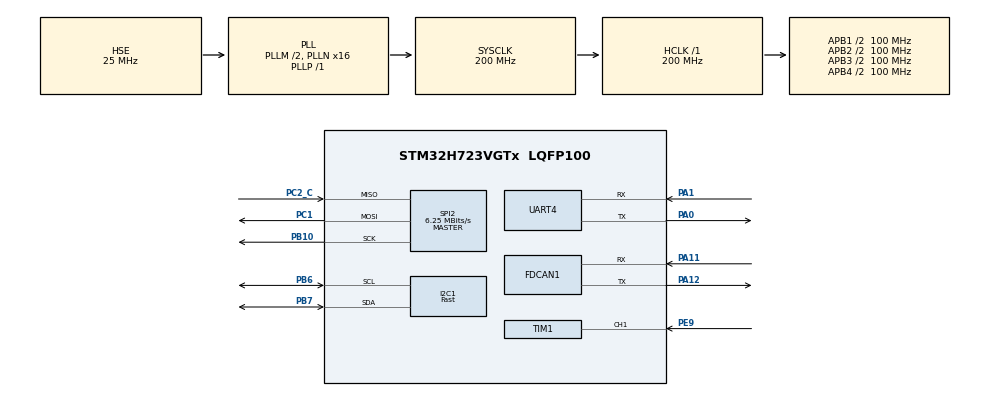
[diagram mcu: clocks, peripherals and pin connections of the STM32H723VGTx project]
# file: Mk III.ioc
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CORTEX_M7.default_mode_Activation=1
Dma.Request0=UART4_RX
Dma.Request1=UART4_TX
Dma.Request2=SPI2_TX
Dma.Request3=SPI2_RX
Dma.SPI2_RX.3.Direction=DMA_PERIPH_TO_MEMORY
Dma.SPI2_RX.3.EventEnable=DISABLE
Dma.SPI2_RX.3.FIFOMode=DMA_FIFOMODE_DISABLE
Dma.SPI2_RX.3.Instance=DMA1_Stream3
Dma.SPI2_RX.3.MemDataAlignment=DMA_MDATAALIGN_BYTE
Dma.SPI2_RX.3.MemInc=DMA_MINC_ENABLE
Dma.SPI2_RX.3.Mode=DMA_NORMAL
Dma.SPI2_RX.3.PeriphDataAlignment=DMA_PDATAALIGN_BYTE
Dma.SPI2_RX.3.PeriphInc=DMA_PINC_DISABLE
Dma.SPI2_RX.3.Polarity=HAL_DMAMUX_REQ_GEN_RISING
Dma.SPI2_RX.3.Priority=DMA_PRIORITY_LOW
Dma.SPI2_RX.3.RequestNumber=1
Dma.SPI2_RX.3.SignalID=NONE
Dma.SPI2_RX.3.SyncEnable=DISABLE
Dma.SPI2_RX.3.SyncPolarity=HAL_DMAMUX_SYNC_NO_EVENT
Dma.SPI2_RX.3.SyncRequestNumber=1
Dma.SPI2_RX.3.SyncSignalID=NONE
Dma.SPI2_TX.2.Direction=DMA_MEMORY_TO_PERIPH
Dma.SPI2_TX.2.EventEnable=DISABLE
Dma.SPI2_TX.2.FIFOMode=DMA_FIFOMODE_DISABLE
Dma.SPI2_TX.2.Instance=DMA1_Stream2
Dma.SPI2_TX.2.MemDataAlignment=DMA_MDATAALIGN_BYTE
Dma.SPI2_TX.2.MemInc=DMA_MINC_ENABLE
Dma.SPI2_TX.2.Mode=DMA_NORMAL
Dma.SPI2_TX.2.PeriphDataAlignment=DMA_PDATAALIGN_BYTE
Dma.SPI2_TX.2.PeriphInc=DMA_PINC_DISABLE
Dma.SPI2_TX.2.Polarity=HAL_DMAMUX_REQ_GEN_RISING
Dma.SPI2_TX.2.Priority=DMA_PRIORITY_LOW
Dma.SPI2_TX.2.RequestNumber=1
Dma.SPI2_TX.2.SignalID=NONE
Dma.SPI2_TX.2.SyncEnable=DISABLE
Dma.SPI2_TX.2.SyncPolarity=HAL_DMAMUX_SYNC_NO_EVENT
Dma.SPI2_TX.2.SyncRequestNumber=1
Dma.SPI2_TX.2.SyncSignalID=NONE
Dma.UART4_RX.0.Direction=DMA_PERIPH_TO_MEMORY
Dma.UART4_RX.0.EventEnable=DISABLE
Dma.UART4_RX.0.FIFOMode=DMA_FIFOMODE_DISABLE
Dma.UART4_RX.0.Instance=DMA1_Stream0
Dma.UART4_RX.0.MemDataAlignment=DMA_MDATAALIGN_BYTE
Dma.UART4_RX.0.MemInc=DMA_MINC_ENABLE
Dma.UART4_RX.0.Mode=DMA_CIRCULAR
Dma.UART4_RX.0.PeriphDataAlignment=DMA_PDATAALIGN_BYTE
Dma.UART4_RX.0.PeriphInc=DMA_PINC_DISABLE
Dma.UART4_RX.0.Polarity=HAL_DMAMUX_REQ_GEN_RISING
Dma.UART4_RX.0.Priority=DMA_PRIORITY_LOW
Dma.UART4_RX.0.RequestNumber=1
Dma.UART4_RX.0.SignalID=NONE
Dma.UART4_RX.0.SyncEnable=DISABLE
Dma.UART4_RX.0.SyncPolarity=HAL_DMAMUX_SYNC_NO_EVENT
Dma.UART4_RX.0.SyncRequestNumber=1
Dma.UART4_RX.0.SyncSignalID=NONE
Dma.UART4_TX.1.Direction=DMA_MEMORY_TO_PERIPH
Dma.UART4_TX.1.EventEnable=DISABLE
Dma.UART4_TX.1.FIFOMode=DMA_FIFOMODE_DISABLE
Dma.UART4_TX.1.Instance=DMA1_Stream1
Dma.UART4_TX.1.MemDataAlignment=DMA_MDATAALIGN_BYTE
Dma.UART4_TX.1.MemInc=DMA_MINC_ENABLE
Dma.UART4_TX.1.Mode=DMA_NORMAL
Dma.UART4_TX.1.PeriphDataAlignment=DMA_PDATAALIGN_BYTE
Dma.UART4_TX.1.PeriphInc=DMA_PINC_DISABLE
Dma.UART4_TX.1.Polarity=HAL_DMAMUX_REQ_GEN_RISING
Dma.UART4_TX.1.Priority=DMA_PRIORITY_LOW
Dma.UART4_TX.1.RequestNumber=1
Dma.UART4_TX.1.SignalID=NONE
Dma.UART4_TX.1.SyncEnable=DISABLE
Dma.UART4_TX.1.SyncPolarity=HAL_DMAMUX_SYNC_NO_EVENT
Dma.UART4_TX.1.SyncRequestNumber=1
Dma.UART4_TX.1.SyncSignalID=NONE
FDCAN1.AutoRetransmission=ENABLE
FDCAN1.CalculateBaudRateNominal=1000000
FDCAN1.CalculateTimeBitNominal=1000
FDCAN1.CalculateTimeQuantumNominal=10.0
FDCAN1.ClockCalibrationCCU=DISABLE
FDCAN1.DataSyncJumpWidth=11
FDCAN1.DataTimeSeg1=22
FDCAN1.DataTimeSeg2=11
FDCAN1.FrameFormat=FDCAN_FRAME_FD_NO_BRS
FDCAN1.NominalPrescaler=1
FDCAN1.NominalSyncJumpWidth=34
FDCAN1.NominalTimeSeg1=66
FDCAN1.NominalTimeSeg2=33
FREERTOS.Queues01=MotorTargetQueue,1,20,1,Dynamic,NULL,NULL;ActuatorQueue,1,2,1,Dynamic,NULL,NULL
FREERTOS.Tasks01=IdleTask,24,128,StartIdleTask,Default,NULL,Dynamic,NULL,NULL;MotorControlTask,32,128,StartMotorControlTask,Default,NULL,Dynamic,NULL,NULL;SensorTask,24,128,StartSensorTask,Default,NULL,Dynamic,NULL,NULL;ActuatorTask,24,128,StartActuatorTask,Default,NULL,Dynamic,NULL,NULL;ESPCommTask,24,128,StartESPCommTask,Default,NULL,Dynamic,NULL,NULL
FREERTOS.configLIBRARY_MAX_SYSCALL_INTERRUPT_PRIORITY=5
FREERTOS.configMAX_TASK_NAME_LEN=25
FREERTOS.configUSE_NEWLIB_REENTRANT=1
I2C1.I2C_Speed_Mode=I2C_Fast
I2C1.Timing=0x009034B6
Mcu.Family=STM32H7
Mcu.Name=STM32H723VGTx
Mcu.Package=LQFP100
NVIC.DMA1_Stream0_IRQn=true\:7\:0\:true\:false\:true\:true\:false\:true\:true
NVIC.DMA1_Stream1_IRQn=true\:7\:0\:true\:false\:true\:true\:false\:true\:true
NVIC.DMA1_Stream2_IRQn=true\:7\:0\:true\:false\:true\:true\:false\:true\:true
NVIC.DMA1_Stream3_IRQn=true\:7\:0\:true\:false\:true\:true\:false\:true\:true
NVIC.FDCAN1_IT0_IRQn=true\:5\:0\:false\:false\:true\:true\:true\:true\:true
NVIC.FDCAN1_IT1_IRQn=true\:5\:0\:false\:false\:true\:true\:true\:true\:true
NVIC.I2C1_ER_IRQn=true\:8\:0\:true\:false\:true\:true\:true\:true\:true
NVIC.I2C1_EV_IRQn=true\:8\:0\:true\:false\:true\:true\:true\:true\:true
NVIC.PriorityGroup=NVIC_PRIORITYGROUP_4
NVIC.SPI2_IRQn=true\:5\:0\:false\:false\:true\:true\:true\:true\:true
NVIC.TIM1_CC_IRQn=true\:5\:0\:true\:false\:true\:true\:true\:true\:true
NVIC.TIM6_DAC_IRQn=true\:15\:0\:false\:false\:true\:false\:false\:true\:true
NVIC.TimeBase=TIM6_DAC_IRQn
NVIC.TimeBaseIP=TIM6
NVIC.UART4_IRQn=true\:6\:0\:true\:false\:true\:true\:true\:true\:true
PA0.Mode=Asynchronous
PA0.Signal=UART4_TX
PA1.Mode=Asynchronous
PA1.Signal=UART4_RX
PA11.Mode=FDCAN_Activate
PA11.Signal=FDCAN1_RX
PA12.Mode=FDCAN_Activate
PA12.Signal=FDCAN1_TX
PA13(JTMS/SWDIO).Mode=Serial_Wire
PA13(JTMS/SWDIO).Signal=DEBUG_JTMS-SWDIO
PA14(JTCK/SWCLK).Mode=Serial_Wire
PA14(JTCK/SWCLK).Signal=DEBUG_JTCK-SWCLK
PB10.Mode=Full_Duplex_Master
PB10.Signal=SPI2_SCK
PB6.Mode=I2C
PB6.Signal=I2C1_SCL
PB7.Mode=I2C
PB7.Signal=I2C1_SDA
PC1.Mode=Full_Duplex_Master
PC1.Signal=SPI2_MOSI
PC2_C.Mode=Full_Duplex_Master
PC2_C.Signal=SPI2_MISO
PE9.Signal=S_TIM1_CH1
PH0-OSC_IN.Mode=HSE-External-Oscillator
PH0-OSC_IN.Signal=RCC_OSC_IN
PH1-OSC_OUT.Mode=HSE-External-Oscillator
PH1-OSC_OUT.Signal=RCC_OSC_OUT
ProjectManager.HeapSize=0x200
ProjectManager.StackSize=0x400
ProjectManager.TargetToolchain=STM32CubeIDE
RCC.ADCFreq_Value=50390625
RCC.APB1Freq_Value=100000000
RCC.APB2Freq_Value=100000000
RCC.APB3Freq_Value=100000000
RCC.APB4Freq_Value=100000000
RCC.CortexFreq_Value=200000000
RCC.D1PPRE=RCC_APB3_DIV2
RCC.D2PPRE1=RCC_APB1_DIV2
RCC.D2PPRE2=RCC_APB2_DIV2
RCC.D3PPRE=RCC_APB4_DIV2
RCC.DIVM1=2
RCC.DIVN1=16
RCC.DIVP1=1
RCC.EnbaleCSS=true
RCC.HCLKFreq_Value=200000000
RCC.PLL2FRACN=0
RCC.PLL3FRACN=0
RCC.PLLFRACN=0
RCC.PLLSourceVirtual=RCC_PLLSOURCE_HSE
RCC.SYSCLKFreq_VALUE=200000000
RCC.SYSCLKSource=RCC_SYSCLKSOURCE_PLLCLK
RCC.USBFreq_Value=100000000
SH.S_TIM1_CH1.0=TIM1_CH1,Input_Capture1_from_TI1
SPI2.BaudRatePrescaler=SPI_BAUDRATEPRESCALER_16
SPI2.CLKPhase=SPI_PHASE_2EDGE
SPI2.CLKPolarity=SPI_POLARITY_HIGH
SPI2.CalculateBaudRate=6.25 MBits/s
SPI2.Direction=SPI_DIRECTION_2LINES
SPI2.Mode=SPI_MODE_MASTER
SPI2.VirtualType=VM_MASTER
TIM1.Channel-Input_Capture1_from_TI1=TIM_CHANNEL_1
TIM1.Prescaler=279
VP_FREERTOS_VS_CMSIS_V2.Mode=CMSIS_V2
VP_MEMORYMAP_VS_MEMORYMAP.Mode=CurAppReg
VP_SYS_VS_tim6.Mode=TIM6
VP_TIM1_VS_ClockSourceINT.Mode=Internal
board=custom

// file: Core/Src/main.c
/* USER CODE BEGIN Header */
/**
  ******************************************************************************
  * @file           : main.c
  * @brief          : Main program body
  ******************************************************************************
  * @attention
  *
  * Copyright (c) 2026 STMicroelectronics.
  * All rights reserved.
  *
  * This software is licensed under terms that can be found in the LICENSE file
  * in the root directory of this software component.
  * If no LICENSE file comes with this software, it is provided AS-IS.
  *
  ******************************************************************************
  */
/* USER CODE END Header */
#include "main.h"
#include "FreeRTOS.h"
#include "cmsis_os2.h"

/* USER CODE BEGIN Includes */
#include <string.h>
#include "task.h"
#include "moteus.h"
#include "multi_motor.h"
#include "MotorTarget.h"
#include "PID.h"
#include "MotorInfo.h"
#include "ActuatorCommand.h"
#include "SolenoidTrigger.h"
#include "RobotTelemetry.h"
/* USER CODE END Includes */

FDCAN_HandleTypeDef hfdcan1;

I2C_HandleTypeDef hi2c1;

SPI_HandleTypeDef hspi2;
DMA_HandleTypeDef hdma_spi2_tx;
DMA_HandleTypeDef hdma_spi2_rx;

TIM_HandleTypeDef htim1;

UART_HandleTypeDef huart4;
DMA_HandleTypeDef hdma_uart4_rx;
DMA_HandleTypeDef hdma_uart4_tx;

/* Definitions for IdleTask */
osThreadId_t IdleTaskHandle;
const osThreadAttr_t IdleTask_attributes = {
  .name = "IdleTask",
  .stack_size = 128 * 4,
  .priority = (osPriority_t) osPriorityNormal,
};
/* Definitions for MotorControlTask */
osThreadId_t MotorControlTaskHandle;
const osThreadAttr_t MotorControlTask_attributes = {
  .name = "MotorControlTask",
  .stack_size = 128 * 4,
  .priority = (osPriority_t) osPriorityAboveNormal,
};
/* Definitions for SensorTask */
osThreadId_t SensorTaskHandle;
const osThreadAttr_t SensorTask_attributes = {
  .name = "SensorTask",
  .stack_size = 128 * 4,
  .priority = (osPriority_t) osPriorityNormal,
};
/* Definitions for ActuatorTask */
osThreadId_t ActuatorTaskHandle;
const osThreadAttr_t ActuatorTask_attributes = {
  .name = "ActuatorTask",
  .stack_size = 128 * 4,
  .priority = (osPriority_t) osPriorityNormal,
};
/* Definitions for ESPCommTask */
osThreadId_t ESPCommTaskHandle;
const osThreadAttr_t ESPCommTask_attributes = {
  .name = "ESPCommTask",
  .stack_size = 128 * 4,
  .priority = (osPriority_t) osPriorityNormal,
};
/* Definitions for MotorTargetQueue */
osMessageQueueId_t MotorTargetQueueHandle;
const osMessageQueueAttr_t MotorTargetQueue_attributes = {
  .name = "MotorTargetQueue"
};
/* Definitions for ActuatorQueue */
osMessageQueueId_t ActuatorQueueHandle;
const osMessageQueueAttr_t ActuatorQueue_attributes = {
  .name = "ActuatorQueue"
};

void SystemClock_Config(void);
static void MPU_Config(void);
static void MX_GPIO_Init(void);
static void MX_DMA_Init(void);
static void MX_FDCAN1_Init(void);
static void MX_UART4_Init(void);
static void MX_I2C1_Init(void);
static void MX_SPI2_Init(void);
static void MX_TIM1_Init(void);
void StartIdleTask(void *argument);
void StartMotorControlTask(void *argument);
void StartSensorTask(void *argument);
void StartActuatorTask(void *argument);
void StartESPCommTask(void *argument);

/* USER CODE BEGIN 0 */
// time in ms since last esp packet receive
volatile uint32_t last_esp_packet_tick;
// UART receive buffer
uint8_t rxBuffer[RX_BUFFER_SIZE];
// updated with breakbeam ball detection
volatile bool global_ball_detected = false;
/* USER CODE END 0 */

int main(void)
{

  /* MPU Configuration--------------------------------------------------------*/
  MPU_Config();

  /* MCU Configuration--------------------------------------------------------*/

  /* Reset of all peripherals, Initializes the Flash interface and the Systick. */
  HAL_Init();

  /* Configure the system clock */
  SystemClock_Config();

  /* Initialize all configured peripherals */
  MX_GPIO_Init();
  MX_DMA_Init();
  MX_FDCAN1_Init();
  MX_UART4_Init();
  MX_I2C1_Init();
  MX_SPI2_Init();
  MX_TIM1_Init();

  /* Init scheduler */
  osKernelInitialize();

  /* Create the queue(s) */
  /* creation of MotorTargetQueue */
  MotorTargetQueueHandle = osMessageQueueNew (1, 20, &MotorTargetQueue_attributes);

  /* creation of ActuatorQueue */
  ActuatorQueueHandle = osMessageQueueNew (1, 2, &ActuatorQueue_attributes);

  /* Create the thread(s) */
  /* creation of IdleTask */
  IdleTaskHandle = osThreadNew(StartIdleTask, NULL, &IdleTask_attributes);

  /* creation of MotorControlTask */
  MotorControlTaskHandle = osThreadNew(StartMotorControlTask, NULL, &MotorControlTask_attributes);

  /* creation of SensorTask */
  SensorTaskHandle = osThreadNew(StartSensorTask, NULL, &SensorTask_attributes);

  /* creation of ActuatorTask */
  ActuatorTaskHandle = osThreadNew(StartActuatorTask, NULL, &ActuatorTask_attributes);

  /* creation of ESPCommTask */
  ESPCommTaskHandle = osThreadNew(StartESPCommTask, NULL, &ESPCommTask_attributes);

  /* Start scheduler */
  osKernelStart();

  /* We should never get here as control is now taken by the scheduler */

  /* Infinite loop */
  while (1)
  {

  }
}

void SystemClock_Config(void)
{
  RCC_OscInitTypeDef RCC_OscInitStruct = {0};
  RCC_ClkInitTypeDef RCC_ClkInitStruct = {0};

  /** Supply configuration update enable
  */
  HAL_PWREx_ConfigSupply(PWR_LDO_SUPPLY);

  /** Configure the main internal regulator output voltage
  */
  __HAL_PWR_VOLTAGESCALING_CONFIG(PWR_REGULATOR_VOLTAGE_SCALE1);

  while(!__HAL_PWR_GET_FLAG(PWR_FLAG_VOSRDY)) {}

  /** Initializes the RCC Oscillators according to the specified parameters
  * in the RCC_OscInitTypeDef structure.
  */
  RCC_OscInitStruct.OscillatorType = RCC_OSCILLATORTYPE_HSE;
  RCC_OscInitStruct.HSEState = RCC_HSE_ON;
  RCC_OscInitStruct.PLL.PLLState = RCC_PLL_ON;
  RCC_OscInitStruct.PLL.PLLSource = RCC_PLLSOURCE_HSE;
  RCC_OscInitStruct.PLL.PLLM = 2;
  RCC_OscInitStruct.PLL.PLLN = 16;
  RCC_OscInitStruct.PLL.PLLP = 1;
  RCC_OscInitStruct.PLL.PLLQ = 2;
  RCC_OscInitStruct.PLL.PLLR = 2;
  RCC_OscInitStruct.PLL.PLLRGE = RCC_PLL1VCIRANGE_3;
  RCC_OscInitStruct.PLL.PLLVCOSEL = RCC_PLL1VCOWIDE;
  RCC_OscInitStruct.PLL.PLLFRACN = 0;
  if (HAL_RCC_OscConfig(&RCC_OscInitStruct) != HAL_OK)
  {
    Error_Handler();
  }

  /** Initializes the CPU, AHB and APB buses clocks
  */
  RCC_ClkInitStruct.ClockType = RCC_CLOCKTYPE_HCLK|RCC_CLOCKTYPE_SYSCLK
                              |RCC_CLOCKTYPE_PCLK1|RCC_CLOCKTYPE_PCLK2
                              |RCC_CLOCKTYPE_D3PCLK1|RCC_CLOCKTYPE_D1PCLK1;
  RCC_ClkInitStruct.SYSCLKSource = RCC_SYSCLKSOURCE_PLLCLK;
  RCC_ClkInitStruct.SYSCLKDivider = RCC_SYSCLK_DIV1;
  RCC_ClkInitStruct.AHBCLKDivider = RCC_HCLK_DIV1;
  RCC_ClkInitStruct.APB3CLKDivider = RCC_APB3_DIV2;
  RCC_ClkInitStruct.APB1CLKDivider = RCC_APB1_DIV2;
  RCC_ClkInitStruct.APB2CLKDivider = RCC_APB2_DIV2;
  RCC_ClkInitStruct.APB4CLKDivider = RCC_APB4_DIV2;

  if (HAL_RCC_ClockConfig(&RCC_ClkInitStruct, FLASH_LATENCY_2) != HAL_OK)
  {
    Error_Handler();
  }

  /** Enables the Clock Security System
  */
  HAL_RCC_EnableCSS();
}

static void MX_FDCAN1_Init(void)
{

  hfdcan1.Instance = FDCAN1;
  hfdcan1.Init.FrameFormat = FDCAN_FRAME_FD_NO_BRS;
  hfdcan1.Init.Mode = FDCAN_MODE_NORMAL;
  hfdcan1.Init.AutoRetransmission = ENABLE;
  hfdcan1.Init.TransmitPause = DISABLE;
  hfdcan1.Init.ProtocolException = DISABLE;
  hfdcan1.Init.NominalPrescaler = 1;
  hfdcan1.Init.NominalSyncJumpWidth = 34;
  hfdcan1.Init.NominalTimeSeg1 = 66;
  hfdcan1.Init.NominalTimeSeg2 = 33;
  hfdcan1.Init.DataPrescaler = 1;
  hfdcan1.Init.DataSyncJumpWidth = 11;
  hfdcan1.Init.DataTimeSeg1 = 22;
  hfdcan1.Init.DataTimeSeg2 = 11;
  hfdcan1.Init.MessageRAMOffset = 0;
  hfdcan1.Init.StdFiltersNbr = 0;
  hfdcan1.Init.ExtFiltersNbr = 0;
  hfdcan1.Init.RxFifo0ElmtsNbr = 0;
  hfdcan1.Init.RxFifo0ElmtSize = FDCAN_DATA_BYTES_8;
  hfdcan1.Init.RxFifo1ElmtsNbr = 0;
  hfdcan1.Init.RxFifo1ElmtSize = FDCAN_DATA_BYTES_8;
  hfdcan1.Init.RxBuffersNbr = 0;
  hfdcan1.Init.RxBufferSize = FDCAN_DATA_BYTES_8;
  hfdcan1.Init.TxEventsNbr = 0;
  hfdcan1.Init.TxBuffersNbr = 0;
  hfdcan1.Init.TxFifoQueueElmtsNbr = 0;
  hfdcan1.Init.TxFifoQueueMode = FDCAN_TX_FIFO_OPERATION;
  hfdcan1.Init.TxElmtSize = FDCAN_DATA_BYTES_8;
  if (HAL_FDCAN_Init(&hfdcan1) != HAL_OK)
  {
    Error_Handler();
  }

}

static void MX_I2C1_Init(void)
{

  hi2c1.Instance = I2C1;
  hi2c1.Init.Timing = 0x009034B6;
  hi2c1.Init.OwnAddress1 = 0;
  hi2c1.Init.AddressingMode = I2C_ADDRESSINGMODE_7BIT;
  hi2c1.Init.DualAddressMode = I2C_DUALADDRESS_DISABLE;
  hi2c1.Init.OwnAddress2 = 0;
  hi2c1.Init.OwnAddress2Masks = I2C_OA2_NOMASK;
  hi2c1.Init.GeneralCallMode = I2C_GENERALCALL_DISABLE;
  hi2c1.Init.NoStretchMode = I2C_NOSTRETCH_DISABLE;
  if (HAL_I2C_Init(&hi2c1) != HAL_OK)
  {
    Error_Handler();
  }

  /** Configure Analogue filter
  */
  if (HAL_I2CEx_ConfigAnalogFilter(&hi2c1, I2C_ANALOGFILTER_ENABLE) != HAL_OK)
  {
    Error_Handler();
  }

  /** Configure Digital filter
  */
  if (HAL_I2CEx_ConfigDigitalFilter(&hi2c1, 0) != HAL_OK)
  {
    Error_Handler();
  }

}

static void MX_SPI2_Init(void)
{

  /* SPI2 parameter configuration*/
  hspi2.Instance = SPI2;
  hspi2.Init.Mode = SPI_MODE_MASTER;
  hspi2.Init.Direction = SPI_DIRECTION_2LINES;
  hspi2.Init.DataSize = SPI_DATASIZE_4BIT;
  hspi2.Init.CLKPolarity = SPI_POLARITY_HIGH;
  hspi2.Init.CLKPhase = SPI_PHASE_2EDGE;
  hspi2.Init.NSS = SPI_NSS_SOFT;
  hspi2.Init.BaudRatePrescaler = SPI_BAUDRATEPRESCALER_16;
  hspi2.Init.FirstBit = SPI_FIRSTBIT_MSB;
  hspi2.Init.TIMode = SPI_TIMODE_DISABLE;
  hspi2.Init.CRCCalculation = SPI_CRCCALCULATION_DISABLE;
  hspi2.Init.CRCPolynomial = 0x0;
  hspi2.Init.NSSPMode = SPI_NSS_PULSE_ENABLE;
  hspi2.Init.NSSPolarity = SPI_NSS_POLARITY_LOW;
  hspi2.Init.FifoThreshold = SPI_FIFO_THRESHOLD_01DATA;
  hspi2.Init.TxCRCInitializationPattern = SPI_CRC_INITIALIZATION_ALL_ZERO_PATTERN;
  hspi2.Init.RxCRCInitializationPattern = SPI_CRC_INITIALIZATION_ALL_ZERO_PATTERN;
  hspi2.Init.MasterSSIdleness = SPI_MASTER_SS_IDLENESS_00CYCLE;
  hspi2.Init.MasterInterDataIdleness = SPI_MASTER_INTERDATA_IDLENESS_00CYCLE;
  hspi2.Init.MasterReceiverAutoSusp = SPI_MASTER_RX_AUTOSUSP_DISABLE;
  hspi2.Init.MasterKeepIOState = SPI_MASTER_KEEP_IO_STATE_DISABLE;
  hspi2.Init.IOSwap = SPI_IO_SWAP_DISABLE;
  if (HAL_SPI_Init(&hspi2) != HAL_OK)
  {
    Error_Handler();
  }

}

static void MX_TIM1_Init(void)
{

  TIM_ClockConfigTypeDef sClockSourceConfig = {0};
  TIM_MasterConfigTypeDef sMasterConfig = {0};
  TIM_IC_InitTypeDef sConfigIC = {0};

  htim1.Instance = TIM1;
  htim1.Init.Prescaler = 279;
  htim1.Init.CounterMode = TIM_COUNTERMODE_UP;
  htim1.Init.Period = 65535;
  htim1.Init.ClockDivision = TIM_CLOCKDIVISION_DIV1;
  htim1.Init.RepetitionCounter = 0;
  htim1.Init.AutoReloadPreload = TIM_AUTORELOAD_PRELOAD_DISABLE;
  if (HAL_TIM_Base_Init(&htim1) != HAL_OK)
  {
    Error_Handler();
  }
  sClockSourceConfig.ClockSource = TIM_CLOCKSOURCE_INTERNAL;
  if (HAL_TIM_ConfigClockSource(&htim1, &sClockSourceConfig) != HAL_OK)
  {
    Error_Handler();
  }
  if (HAL_TIM_IC_Init(&htim1) != HAL_OK)
  {
    Error_Handler();
  }
  sMasterConfig.MasterOutputTrigger = TIM_TRGO_RESET;
  sMasterConfig.MasterOutputTrigger2 = TIM_TRGO2_RESET;
  sMasterConfig.MasterSlaveMode = TIM_MASTERSLAVEMODE_DISABLE;
  if (HAL_TIMEx_MasterConfigSynchronization(&htim1, &sMasterConfig) != HAL_OK)
  {
    Error_Handler();
  }
  sConfigIC.ICPolarity = TIM_INPUTCHANNELPOLARITY_RISING;
  sConfigIC.ICSelection = TIM_ICSELECTION_DIRECTTI;
  sConfigIC.ICPrescaler = TIM_ICPSC_DIV1;
  sConfigIC.ICFilter = 0;
  if (HAL_TIM_IC_ConfigChannel(&htim1, &sConfigIC, TIM_CHANNEL_1) != HAL_OK)
  {
    Error_Handler();
  }

}

static void MX_UART4_Init(void)
{

  huart4.Instance = UART4;
  huart4.Init.BaudRate = 115200;
  huart4.Init.WordLength = UART_WORDLENGTH_8B;
  huart4.Init.StopBits = UART_STOPBITS_1;
  huart4.Init.Parity = UART_PARITY_NONE;
  huart4.Init.Mode = UART_MODE_TX_RX;
  huart4.Init.HwFlowCtl = UART_HWCONTROL_NONE;
  huart4.Init.OverSampling = UART_OVERSAMPLING_16;
  huart4.Init.OneBitSampling = UART_ONE_BIT_SAMPLE_DISABLE;
  huart4.Init.ClockPrescaler = UART_PRESCALER_DIV1;
  huart4.AdvancedInit.AdvFeatureInit = UART_ADVFEATURE_NO_INIT;
  if (HAL_UART_Init(&huart4) != HAL_OK)
  {
    Error_Handler();
  }
  if (HAL_UARTEx_SetTxFifoThreshold(&huart4, UART_TXFIFO_THRESHOLD_1_8) != HAL_OK)
  {
    Error_Handler();
  }
  if (HAL_UARTEx_SetRxFifoThreshold(&huart4, UART_RXFIFO_THRESHOLD_1_8) != HAL_OK)
  {
    Error_Handler();
  }
  if (HAL_UARTEx_DisableFifoMode(&huart4) != HAL_OK)
  {
    Error_Handler();
  }

}

static void MX_DMA_Init(void)
{

  /* DMA controller clock enable */
  __HAL_RCC_DMA1_CLK_ENABLE();

  /* DMA interrupt init */
  /* DMA1_Stream0_IRQn interrupt configuration */
  HAL_NVIC_SetPriority(DMA1_Stream0_IRQn, 7, 0);
  HAL_NVIC_EnableIRQ(DMA1_Stream0_IRQn);
  /* DMA1_Stream1_IRQn interrupt configuration */
  HAL_NVIC_SetPriority(DMA1_Stream1_IRQn, 7, 0);
  HAL_NVIC_EnableIRQ(DMA1_Stream1_IRQn);
  /* DMA1_Stream2_IRQn interrupt configuration */
  HAL_NVIC_SetPriority(DMA1_Stream2_IRQn, 7, 0);
  HAL_NVIC_EnableIRQ(DMA1_Stream2_IRQn);
  /* DMA1_Stream3_IRQn interrupt configuration */
  HAL_NVIC_SetPriority(DMA1_Stream3_IRQn, 7, 0);
  HAL_NVIC_EnableIRQ(DMA1_Stream3_IRQn);

}

static void MX_GPIO_Init(void)
{

  /* GPIO Ports Clock Enable */
  __HAL_RCC_GPIOH_CLK_ENABLE();
  __HAL_RCC_GPIOC_CLK_ENABLE();
  __HAL_RCC_GPIOA_CLK_ENABLE();
  __HAL_RCC_GPIOE_CLK_ENABLE();
  __HAL_RCC_GPIOB_CLK_ENABLE();

}

/* USER CODE BEGIN 4 */
void HAL_FDCAN_RxFifo0Callback(FDCAN_HandleTypeDef *hfdcan, uint32_t RxFifo0ITs)
{
    (void)RxFifo0ITs;
    moteus_fdcan_rx_callback(hfdcan);
}
void HAL_UARTEx_RxEventCallback(UART_HandleTypeDef *huart, uint16_t Size)
{
  if (huart->Instance == UART4)
  {
    // High-priority signal to wake up the ESPCommTask
    BaseType_t xHigherPriorityTaskWoken = pdFALSE;
    vTaskNotifyGiveFromISR(ESPCommTaskHandle, &xHigherPriorityTaskWoken);
    portYIELD_FROM_ISR(xHigherPriorityTaskWoken);
  }
}
/* USER CODE END 4 */

void StartIdleTask(void *argument)
{
  /* USER CODE BEGIN StartIdleTask */
  uint32_t led_tick = HAL_GetTick();

  /* Infinite loop */
  for(;;)
  {
    // 1. Heartbeat LED: Toggle every 500ms (1Hz blink)
    // Provides visual confirmation that the FreeRTOS scheduler is running.
    if ((HAL_GetTick() - led_tick) >= HEARTBEAT_LED_BLINK_DELAY)
    {
      // Replace with your actual LED Pin labels from CubeMX
      HAL_GPIO_TogglePin(HEARTBEAT_LED_GPIO_PORT, HEARTBEAT_LED_PIN);
      led_tick = HAL_GetTick();
    }

    // 2. ESP32 Communication Safety Watchdog
    // If no UART packets have been received in 1 second, stop all motors.
    // Assumption: last_esp_packet_tick is updated in StartESPCommTask.
    if ((HAL_GetTick() - last_esp_packet_tick) > SAFETY_WATCHDOG_TIME)
    {
      // TODO: check if this multi_motor.c `motors` is the same in main.c
      // Calls the helper from multi_motor.c source to stop all Moteus nodes
      stop_all();
    }

    // 3. System Yield (Critical for SensorTask)
    // By delaying for 50ms, this task enters a "Blocked" state, allowing
    // the osPriorityBelowNormal SensorTask to use the CPU.
    osDelay(IDLE_TASK_DELAY);
  }
  /* USER CODE END StartIdleTask */
}

void StartMotorControlTask(void *argument)
{
  /* USER CODE BEGIN StartMotorControlTask */
  MotorTarget_t targets = {0};
  moteus_motor_t* motors[NUM_MOTORS];

  // Initialize 5 motor instances (IDs 1-5)
  for (int i = 0; i < NUM_MOTORS; i++) {
    motors[i] = moteus_get_motor_by_id(i + 1);
  }

  moteus_position_cmd_t cmd = MOTEUS_POSITION_CMD_DEFAULT;
  cmd.position = MOTEUS_NAN; // Enable Velocity Mode
  cmd.max_torque = 2.0f;     // Safety limit

  for(;;)
  {
    // Retrieve newest targets; if empty, continue with last known
    osMessageQueueGet(MotorTargetQueueHandle, &targets, NULL, 0);

    for (int i = 0; i < NUM_MOTORS; i++) {
      if (motors[i] != NULL) {
        cmd.velocity = targets.velocities[i];
        moteus_begin_position(motors[i], &cmd);
      }
    }

    osDelay(1); // 1kHz loop for stability
  }
  /* USER CODE END StartMotorControlTask */
}

void StartSensorTask(void *argument)
{
  /* USER CODE BEGIN StartSensorTask */

  /* Infinite loop */
  for(;;)
  {
    // 1. Read the GPIO pin for the breakbeam
    // Assumption: Pin is HIGH when beam is broken (ball present)
    // Replace BALL_SENSOR_GPIO_Port and BALL_SENSOR_Pin with your CubeMX labels
    if (HAL_GPIO_ReadPin(BALL_SENSOR_GPIO_PORT, BALL_SENSOR_PIN) == GPIO_PIN_SET)
    {
    	global_ball_detected = true;
    }
    else
    {
    	global_ball_detected = false;
    }

    // 2. Polling rate: 20Hz (50ms) is usually sufficient for ball detection
    osDelay(BALL_DETECTION_DELAY);
  }
  /* USER CODE END StartSensorTask */
}

void StartActuatorTask(void *argument)
{
  /* USER CODE BEGIN StartActuatorTask */
  SolenoidTrigger_t triggers;

  for(;;)
  {
    // Block indefinitely until the ESPCommTask sends a trigger
    if (osMessageQueueGet(ActuatorQueueHandle, &triggers, NULL, osWaitForever) == osOK)
    {
      if (triggers.kick) {
        HAL_GPIO_WritePin(KICKER_GPIO_PORT, KICK_PIN, GPIO_PIN_SET);
        osDelay(KICKER_DELAY); // 100ms pulse duration
        HAL_GPIO_WritePin(KICKER_GPIO_PORT, KICK_PIN, GPIO_PIN_RESET);
      }

      if (triggers.chip) {
        HAL_GPIO_WritePin(CHIPPER_GPIO_PORT, CHIP_PIN, GPIO_PIN_SET);
        osDelay(CHIPPER_DELAY);
        HAL_GPIO_WritePin(CHIPPER_GPIO_PORT, CHIP_PIN, GPIO_PIN_RESET);
      }
    }
  }
  /* USER CODE END StartActuatorTask */
}

void StartESPCommTask(void *argument)
{
  /* USER CODE BEGIN StartESPCommTask */
  MotorTarget_t motor_cmd = {0};
  SolenoidTrigger_t solenoid_cmd = {0};
  RobotTelemetry_t telemetry = {0};
  moteus_motor_t* motors[5];

  // Retrieve motor handles for IDs 1-5 to access their live "result" data [8, 9]
  for (int i = 0; i < 5; i++) {
    motors[i] = moteus_get_motor_by_id(i + 1);
  }

  HAL_UARTEx_ReceiveToIdle_DMA(&huart4, rxBuffer, RX_BUFFER_SIZE);
  __HAL_DMA_DISABLE_IT(&hdma_uart4_rx, DMA_IT_HT);

  for(;;)
  {
    // Block until UART IDLE interrupt triggers a task notification
    if (ulTaskNotifyTake(pdTRUE, osWaitForever) > 0)
    {
      // --- 1. Process Incoming Commands ---
      memcpy(motor_cmd.velocities, rxBuffer, 20);
      solenoid_cmd.kick = (bool)rxBuffer[10];
      solenoid_cmd.chip = (bool)rxBuffer[11];

      last_esp_packet_tick = HAL_GetTick(); // Update watchdog
      osMessageQueuePut(MotorTargetQueueHandle, &motor_cmd, 0, 0);
      if (solenoid_cmd.kick || solenoid_cmd.chip) {
        osMessageQueuePut(ActuatorQueueHandle, &solenoid_cmd, 0, 0);
      }

      // --- 2. Prepare Telemetry Data ---
      float total_v = 0;
      for (int i = 0; i < 5; i++) {
        if (motors[i] != NULL) {
          telemetry.velocities[i] = motors[i]->result.velocity; // [2]
          telemetry.faults[i]     = motors[i]->result.fault;    // [2]
          total_v += motors[i]->result.voltage;                 // [2, 7]
        }
      }
      telemetry.battery_voltage = total_v / 5.0f;
      telemetry.ball_sensed = global_ball_detected; // Updated by SensorTask

      // --- 3. Transmit to ESP32 via DMA ---
      // Sending raw binary ensures high-speed, low-overhead communication
      HAL_UART_Transmit_DMA(&huart4, (uint8_t*)&telemetry, sizeof(telemetry));

      // Restart DMA for next command
      HAL_UARTEx_ReceiveToIdle_DMA(&huart4, rxBuffer, RX_BUFFER_SIZE);
      __HAL_DMA_DISABLE_IT(&hdma_uart4_rx, DMA_IT_HT);
    }
  }
  /* USER CODE END StartESPCommTask */
}

 /* MPU Configuration */

void MPU_Config(void)
{
  MPU_Region_InitTypeDef MPU_InitStruct = {0};

  /* Disables the MPU */
  HAL_MPU_Disable();

  /** Initializes and configures the Region and the memory to be protected
  */
  MPU_InitStruct.Enable = MPU_REGION_ENABLE;
  MPU_InitStruct.Number = MPU_REGION_NUMBER0;
  MPU_InitStruct.BaseAddress = 0x0;
  MPU_InitStruct.Size = MPU_REGION_SIZE_4GB;
  MPU_InitStruct.SubRegionDisable = 0x87;
  MPU_InitStruct.TypeExtField = MPU_TEX_LEVEL0;
  MPU_InitStruct.AccessPermission = MPU_REGION_NO_ACCESS;
  MPU_InitStruct.DisableExec = MPU_INSTRUCTION_ACCESS_DISABLE;
  MPU_InitStruct.IsShareable = MPU_ACCESS_SHAREABLE;
  MPU_InitStruct.IsCacheable = MPU_ACCESS_NOT_CACHEABLE;
  MPU_InitStruct.IsBufferable = MPU_ACCESS_NOT_BUFFERABLE;

  HAL_MPU_ConfigRegion(&MPU_InitStruct);
  /* Enables the MPU */
  HAL_MPU_Enable(MPU_PRIVILEGED_DEFAULT);

}

void HAL_TIM_PeriodElapsedCallback(TIM_HandleTypeDef *htim)
{
  if (htim->Instance == TIM6)
  {
    HAL_IncTick();
  }
}

void Error_Handler(void)
{
  __disable_irq();
  while (1)
  {
  }
}
